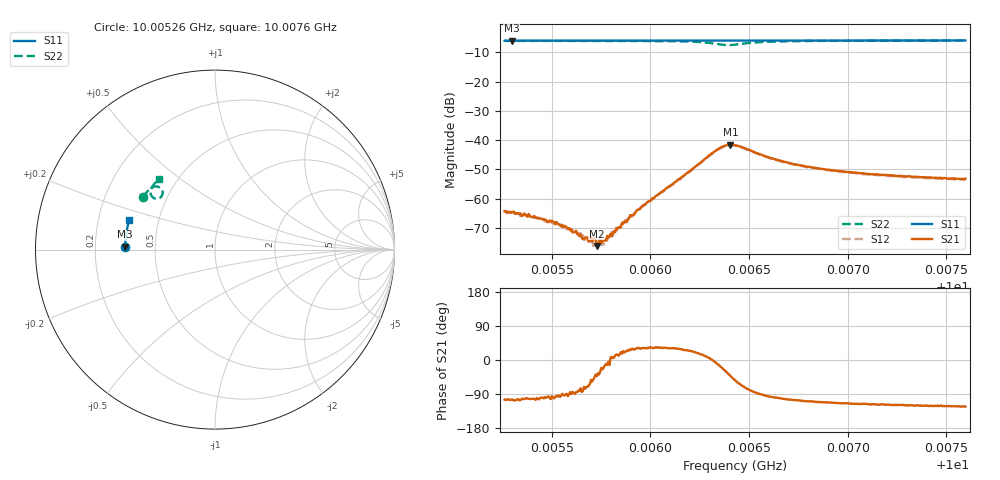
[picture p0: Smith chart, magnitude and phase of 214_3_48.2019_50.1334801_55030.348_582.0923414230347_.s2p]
#  HZ  S  RI  R  50.00
! Rohde & Schwarz Vector Network Analyzer
! Rohde-Schwarz,ZNB20-2Port,1311601062101988,3.16
! Created: UTC 3/20/2024, 11:45:40 AM
! freq[Hz]  re:S11  im:S11  re:S21  im:S21  re:S12  im:S12  re:S22  im:S22
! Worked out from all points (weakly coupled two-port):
!   401 points, 10.00526 GHz to 10.0076 GHz, reference 50 ohm
!   highest |S21| = -41.61 dB at 10.00641 GHz (marker M1); lowest = -76.2 dB at 10.00573 GHz (marker M2)
!   lowest |S11| = -6.0 dB at 10.0053 GHz (marker M3), VSWR 3.00, Z = 16.7 + j0.744 ohm
!   |S11| at or under -10 dB: nowhere
!   |S22| runs from -7.5 to -6.0 dB; largest |S21 - S12| = 0.0005
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1.0005261e10  -0.5001 0.0143  -0.000152 -0.00059  -0.000108 -0.000584  -0.3996 0.2934
1.0005296e10  -0.4999 0.0167  -0.000142 -0.00055  -0.000107 -0.000554  -0.3982 0.2953
1.0005448e10  -0.5 0.0266  -7.56e-05 -0.000447  -6.97e-05 -0.000423  -0.3919 0.3045
1.0005501e10  -0.4999 0.03  -4.06e-05 -0.000416  -4.58e-05 -0.00039  -0.3894 0.3076
1.0005577e10  -0.4996 0.035  2.61e-06 -0.000319  -1.24e-05 -0.0003  -0.386 0.3121
1.00056e10  -0.4997 0.0365  2.04e-07 -0.000299  1.68e-05 -0.000294  -0.3849 0.3136
1.0005652e10  -0.4996 0.0399  2.16e-05 -0.000217  5.86e-05 -0.000197  -0.3823 0.3168
1.0005693e10  -0.4993 0.0426  8.4e-05 -0.00017  9.21e-05 -0.000168  -0.3802 0.3192
1.0005711e10  -0.4993 0.0438  0.000126 -0.00016  9.22e-05 -0.000122  -0.3794 0.3204
1.0005728e10  -0.4991 0.0449  0.000114 -0.000104  0.000133 -0.000114  -0.3783 0.3216
1.000574e10  -0.4991 0.0457  0.000149 -0.000118  0.000149 -9.13e-05  -0.3778 0.3223
1.0005763e10  -0.499 0.0471  0.000178 -6.29e-05  0.000149 -6.55e-05  -0.3765 0.3239
1.000595e10  -0.4981 0.0592  0.000604 0.000346  0.000568 0.000358  -0.3641 0.3362
1.0006044e10  -0.4975 0.0652  0.00101 0.000651  0.000978 0.000675  -0.3557 0.3426
1.000633e10  -0.4947 0.0837  0.00651 -0.000701  0.00639 -0.000364  -0.2947 0.3311
1.000637e10  -0.4944 0.0859  0.00712 -0.00324  0.00712 -0.00279  -0.2928 0.3076
1.0006405e10  -0.4939 0.0879  0.00616 -0.00558  0.00631 -0.0051  -0.3059 0.2893
1.0006429e10  -0.4938 0.0894  0.00487 -0.00659  0.0051 -0.0062  -0.3192 0.284
1.0006633e10  -0.4923 0.1023  -0.000756 -0.00461  -0.000534 -0.00455  -0.3594 0.3247
1.000682e10  -0.4903 0.1144  -0.00113 -0.0032  -0.000967 -0.0032  -0.3516 0.3477
1.0007211e10  -0.4845 0.1391  -0.00119 -0.0022  -0.00107 -0.00218  -0.3314 0.3746
1.0007596e10  -0.4779 0.1629  -0.00119 -0.00184  -0.00109 -0.00182  -0.3115 0.3941
